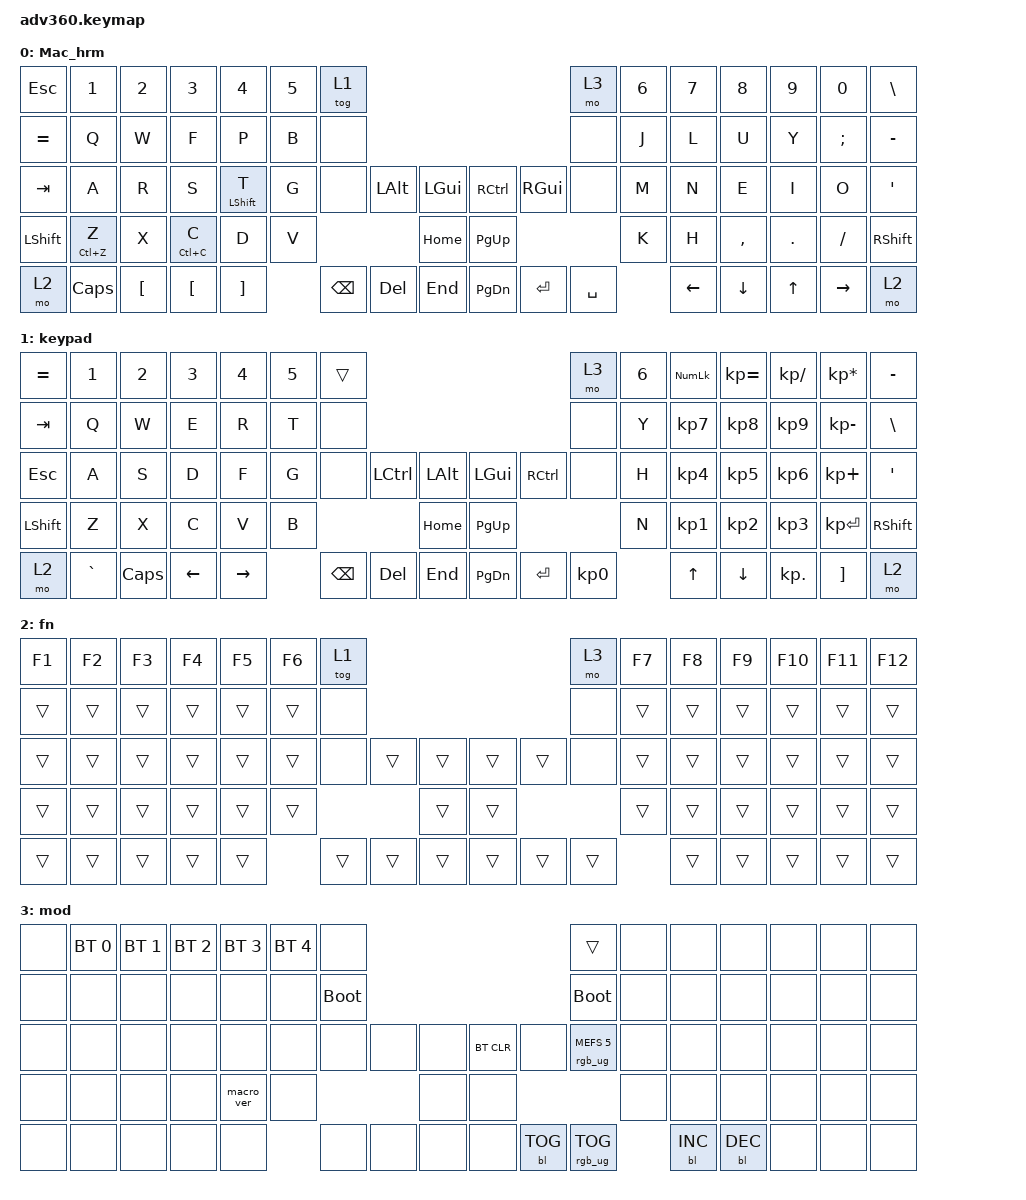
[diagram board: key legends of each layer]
#include <behaviors.dtsi>
#include <dt-bindings/zmk/backlight.h>
#include <dt-bindings/zmk/bt.h>
#include <dt-bindings/zmk/keys.h>
#include <dt-bindings/zmk/rgb.h>

/ {
    behaviors {
        #include "macros.dtsi"
      #include "version.dtsi"
      #ifndef VERSION_MACRO

        macro_ver: macro_ver {
            compatible = "zmk,behavior-macro";
            label = "macro_version";
            #binding-cells = <0>;
            bindings = <&kp RET>;
        };

        #endif

        hm: homerow_mods {
            compatible = "zmk,behavior-hold-tap";
            label = "HOMEROW_MODS";
            #binding-cells = <2>;
            tapping-term-ms = <200>;
            quick_tap_ms = <80>;
            flavor = "tap-preferred";
            bindings = <&kp>, <&kp>;

            quick-tap-ms = <0>;
        };

        hs: hs {
            compatible = "zmk,behavior-hold-tap";
            label = "HS";
            bindings = <&kp>, <&kp>;

            #binding-cells = <2>;
            tapping-term-ms = <175>;
        };

        hm_mo: hm_mo {
            compatible = "zmk,behavior-hold-tap";
            label = "HM_MO";
            bindings = <&mo>, <&kp>;

            #binding-cells = <2>;
            tapping-term-ms = <250>;
            flavor = "tap-preferred";
        };
    };

    macros {
    };

    keymap {
        compatible = "zmk,keymap";

        Mac_hrm {
            bindings = <
&kp ESC    &kp N1        &kp N2    &kp N3       &kp N4            &kp N5  &tog 1                                                  &mo 3      &kp N6  &kp N7    &kp N8     &kp N9   &kp N0     &kp BSLH
&kp EQUAL  &kp Q         &kp W     &kp F        &kp P             &kp B   &none                                                   &none      &kp J   &kp L     &kp U      &kp Y    &kp SEMI   &kp MINUS
&kp TAB    &kp A         &kp R     &kp S        &hs LEFT_SHIFT T  &kp G   &none     &kp LALT  &kp LGUI      &kp RCTRL  &kp RGUI   &none      &kp M   &kp N     &kp E      &kp I    &kp O      &kp SQT
&kp LSHFT  &hm LC(Z) Z   &kp X     &hm LC(C) C  &kp D             &kp V                       &kp HOME      &kp PG_UP                        &kp K   &kp H     &kp COMMA  &kp DOT  &kp FSLH   &kp RSHFT
&mo 2      &kp CAPSLOCK  &kp LBKT  &kp LBKT     &kp RBKT                  &kp BSPC  &kp DEL   &kp END       &kp PG_DN  &kp ENTER  &kp SPACE          &kp LEFT  &kp DOWN   &kp UP   &kp RIGHT  &mo 2
            >;
        };

        keypad {
            bindings = <
&kp EQUAL  &kp N1     &kp N2    &kp N3    &kp N4     &kp N5  &trans                                                   &mo 3      &kp N6  &kp KP_NUM  &kp KP_EQUAL  &kp KP_DIVIDE  &kp KP_MULTIPLY  &kp MINUS
&kp TAB    &kp Q      &kp W     &kp E     &kp R      &kp T   &none                                                    &none      &kp Y   &kp KP_N7   &kp KP_N8     &kp KP_N9      &kp KP_MINUS     &kp BSLH
&kp ESC    &kp A      &kp S     &kp D     &kp F      &kp G   &none     &kp LCTRL  &kp LALT      &kp LGUI   &kp RCTRL  &none      &kp H   &kp KP_N4   &kp KP_N5     &kp KP_N6      &kp KP_PLUS      &kp SQT
&kp LSHFT  &kp Z      &kp X     &kp C     &kp V      &kp B                        &kp HOME      &kp PG_UP                        &kp N   &kp KP_N1   &kp KP_N2     &kp KP_N3      &kp KP_ENTER     &kp RSHFT
&mo 2      &kp GRAVE  &kp CAPS  &kp LEFT  &kp RIGHT          &kp BSPC  &kp DEL    &kp END       &kp PG_DN  &kp ENTER  &kp KP_N0          &kp UP      &kp DOWN      &kp KP_DOT     &kp RBKT         &mo 2
            >;
        };

        fn {
            bindings = <
&kp F1  &kp F2  &kp F3  &kp F4  &kp F5  &kp F6  &tog 1                                      &mo 3   &kp F7  &kp F8  &kp F9  &kp F10  &kp F11  &kp F12
&trans  &trans  &trans  &trans  &trans  &trans  &none                                       &none   &trans  &trans  &trans  &trans   &trans   &trans
&trans  &trans  &trans  &trans  &trans  &trans  &none   &trans  &trans      &trans  &trans  &none   &trans  &trans  &trans  &trans   &trans   &trans
&trans  &trans  &trans  &trans  &trans  &trans                  &trans      &trans                  &trans  &trans  &trans  &trans   &trans   &trans
&trans  &trans  &trans  &trans  &trans          &trans  &trans  &trans      &trans  &trans  &trans          &trans  &trans  &trans   &trans   &trans
            >;
        };

        mod {
            bindings = <
&none  &bt BT_SEL 0  &bt BT_SEL 1  &bt BT_SEL 2  &bt BT_SEL 3  &bt BT_SEL 4  &none                                                  &trans                  &none  &none       &none       &none  &none  &none
&none  &none         &none         &none         &none         &none         &bootloader                                            &bootloader             &none  &none       &none       &none  &none  &none
&none  &none         &none         &none         &none         &none         &none        &none  &none      &bt BT_CLR  &none       &rgb_ug RGB_MEFS_CMD 5  &none  &none       &none       &none  &none  &none
&none  &none         &none         &none         &macro_ver    &none                             &none      &none                                           &none  &none       &none       &none  &none  &none
&none  &none         &none         &none         &none                       &none        &none  &none      &none       &bl BL_TOG  &rgb_ug RGB_TOG                &bl BL_INC  &bl BL_DEC  &none  &none  &none
            >;
        };
    };
};
